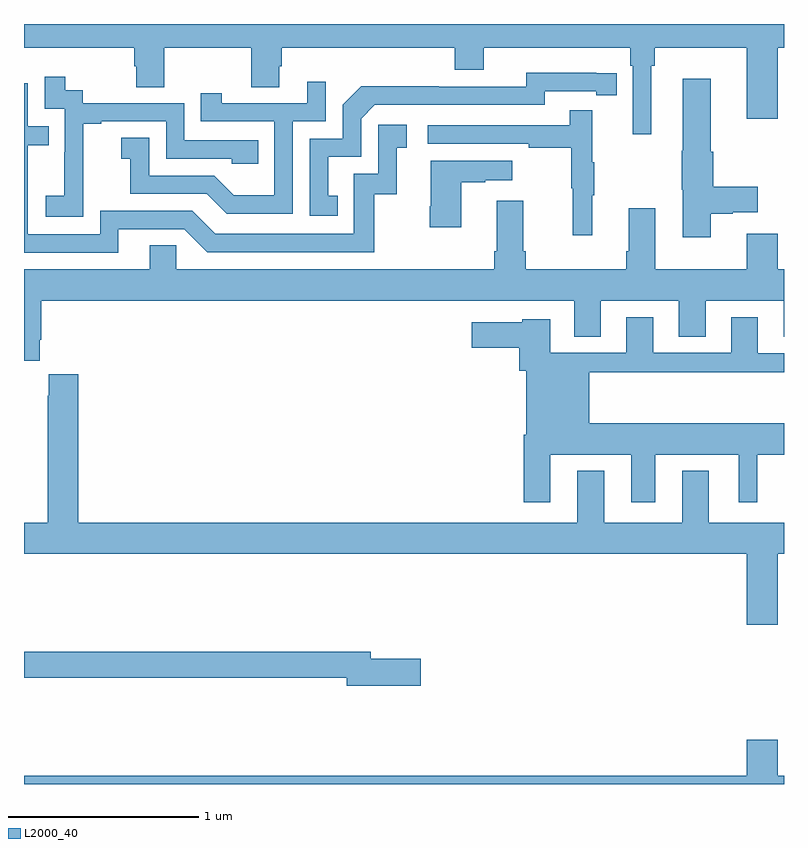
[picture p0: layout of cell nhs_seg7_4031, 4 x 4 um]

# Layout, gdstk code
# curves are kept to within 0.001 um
import gdstk
lib = gdstk.Library(unit=1e-6, precision=1e-09)
def P(c, l, *ps):  # polygons
    for p in ps: c.add(gdstk.Polygon(p, *l))
L2000_40 = (2000, 40)

nhs_seg7_4031 = lib.new_cell('nhs_seg7_4031')
P(nhs_seg7_4031, L2000_40, [(365,1073.876),(365.579,1073.876),(365.579,1073.778),(365.591,1073.778),(365.591,1073.668),(365.739,1073.668),(365.739,1073.876),(366.196,1073.876),(366.196,1073.668),(366.343,1073.668),(366.343,1073.778),(366.356,1073.778),(366.356,1073.876),(367.268,1073.876),(367.268,1073.759),(367.42,1073.759),(367.42,1073.876),(368.192,1073.876),(368.192,1073.78),(368.205,1073.78),(368.205,1073.421),(368.302,1073.421),(368.302,1073.78),(368.321,1073.78),(368.321,1073.876),(368.804,1073.876),(368.804,1073.502),(368.968,1073.502),(368.968,1073.876),(369,1073.876),(369,1074),(365,1074)],
  [(366.65,1073.097),(366.601,1073.097),(366.601,1073.301),(366.774,1073.301),(366.774,1073.502),(366.846,1073.574),(367.74,1073.574),(367.74,1073.646),(368.012,1073.646),(368.012,1073.626),(368.12,1073.626),(368.12,1073.742),(367.644,1073.743),(367.644,1073.67),(367.184,1073.67),(367.184,1073.672),(366.776,1073.672),(366.678,1073.574),(366.678,1073.397),(366.504,1073.397),(366.504,1072.992),(366.65,1072.992)],
  [(365.313,1073.191),(365.312,1073.191),(365.312,1073.475),(365.407,1073.475),(365.407,1073.487),(365.748,1073.487),(365.748,1073.292),(366.093,1073.292),(366.093,1073.265),(366.233,1073.265),(366.233,1073.388),(365.844,1073.388),(365.844,1073.583),(365.31,1073.583),(365.31,1073.652),(365.218,1073.652),(365.218,1073.722),(365.109,1073.722),(365.109,1073.553),(365.214,1073.553),(365.214,1073.324),(365.213,1073.324),(365.213,1073.095),(365.115,1073.095),(365.115,1072.985),(365.313,1072.985)],
  [(368.614,1073.002),(368.73,1073.002),(368.73,1073.009),(368.863,1073.009),(368.863,1073.144),(368.627,1073.144),(368.627,1073.327),(368.614,1073.327),(368.614,1073.713),(368.468,1073.713),(368.468,1073.333),(368.461,1073.333),(368.461,1073.127),(368.468,1073.127),(368.468,1072.878),(368.614,1072.878)],
  [(366.414,1073.487),(366.588,1073.487),(366.588,1073.695),(366.491,1073.695),(366.491,1073.583),(366.04,1073.583),(366.04,1073.635),(365.929,1073.635),(365.929,1073.487),(366.318,1073.487),(366.318,1073.098),(366.104,1073.098),(366,1073.202),(365.658,1073.202),(365.658,1073.401),(365.511,1073.401),(365.511,1073.291),(365.56,1073.291),(365.56,1073.106),(365.963,1073.106),(366.068,1073.001),(366.414,1073.001)],
  [(365.497,1072.92),(365.844,1072.92),(365.964,1072.8),(366.844,1072.8),(366.844,1073.103),(366.962,1073.103),(366.962,1073.349),(367.015,1073.349),(367.015,1073.47),(366.864,1073.47),(366.864,1073.211),(366.735,1073.211),(366.735,1072.896),(366.006,1072.896),(365.886,1073.016),(365.4,1073.016),(365.4,1072.893),(365.019,1072.893),(365.019,1073.362),(365.129,1073.362),(365.129,1073.463),(365.019,1073.463),(365.019,1073.688),(365,1073.688),(365,1072.797),(365.497,1072.797)],
  [(367.991,1073.099),(368.002,1073.099),(368.002,1073.273),(367.991,1073.273),(367.991,1073.545),(367.873,1073.545),(367.873,1073.466),(367.125,1073.466),(367.125,1073.37),(367.657,1073.37),(367.657,1073.35),(367.881,1073.35),(367.881,1073.136),(367.888,1073.136),(367.888,1072.887),(367.991,1072.887)],
  [(367.3,1073.167),(367.427,1073.167),(367.427,1073.177),(367.57,1073.177),(367.57,1073.281),(367.142,1073.281),(367.142,1073.041),(367.135,1073.041),(367.135,1072.929),(367.3,1072.929)],
  [(365,1072.227),(365.083,1072.227),(365.083,1072.339),(365.09,1072.339),(365.09,1072.544),(367.895,1072.544),(367.895,1072.354),(368.035,1072.354),(368.035,1072.544),(368.447,1072.544),(368.447,1072.354),(368.587,1072.354),(368.587,1072.544),(368.999,1072.544),(368.999,1072.354),(369,1072.354),(369,1072.708),(368.968,1072.708),(368.968,1072.897),(368.804,1072.897),(368.804,1072.708),(368.323,1072.708),(368.323,1073.029),(368.183,1073.029),(368.183,1072.804),(368.171,1072.804),(368.171,1072.708),(367.64,1072.708),(367.64,1072.804),(367.627,1072.804),(367.627,1073.071),(367.487,1073.071),(367.487,1072.804),(367.475,1072.804),(367.475,1072.708),(365.802,1072.708),(365.802,1072.835),(365.663,1072.835),(365.663,1072.708),(365,1072.708)],
  [(367.771,1071.734),(368.195,1071.734),(368.195,1071.483),(368.323,1071.483),(368.323,1071.734),(368.762,1071.734),(368.762,1071.483),(368.86,1071.483),(368.86,1071.734),(369,1071.734),(369,1071.898),(367.975,1071.898),(367.975,1072.168),(368.959,1072.168),(368.959,1072.166),(369,1072.166),(369,1072.266),(368.863,1072.266),(368.863,1072.456),(368.723,1072.456),(368.723,1072.269),(368.311,1072.269),(368.311,1072.456),(368.171,1072.456),(368.171,1072.269),(367.771,1072.269),(367.771,1072.447),(367.623,1072.447),(367.623,1072.429),(367.356,1072.429),(367.356,1072.295),(367.607,1072.295),(367.607,1072.176),(367.643,1072.176),(367.643,1071.838),(367.631,1071.838),(367.631,1071.483),(367.771,1071.483)],
  [(368.968,1071.212),(369,1071.212),(369,1071.376),(368.605,1071.376),(368.605,1071.649),(368.465,1071.649),(368.465,1071.376),(368.053,1071.376),(368.053,1071.649),(367.913,1071.649),(367.913,1071.376),(365.285,1071.376),(365.285,1072.156),(365.129,1072.156),(365.129,1072.043),(365.125,1072.043),(365.125,1071.376),(365,1071.376),(365,1071.212),(368.804,1071.212),(368.804,1070.838),(368.968,1070.838)],
  [(367.087,1070.66),(366.826,1070.66),(366.826,1070.696),(365,1070.696),(365,1070.56),(366.698,1070.56),(366.698,1070.518),(367.087,1070.518)],
  [(369,1070.044),(368.968,1070.044),(368.968,1070.233),(368.804,1070.233),(368.804,1070.044),(365,1070.044),(365,1070),(369,1070)])

lib.write_gds('nhs_seg7_4031.gds')
